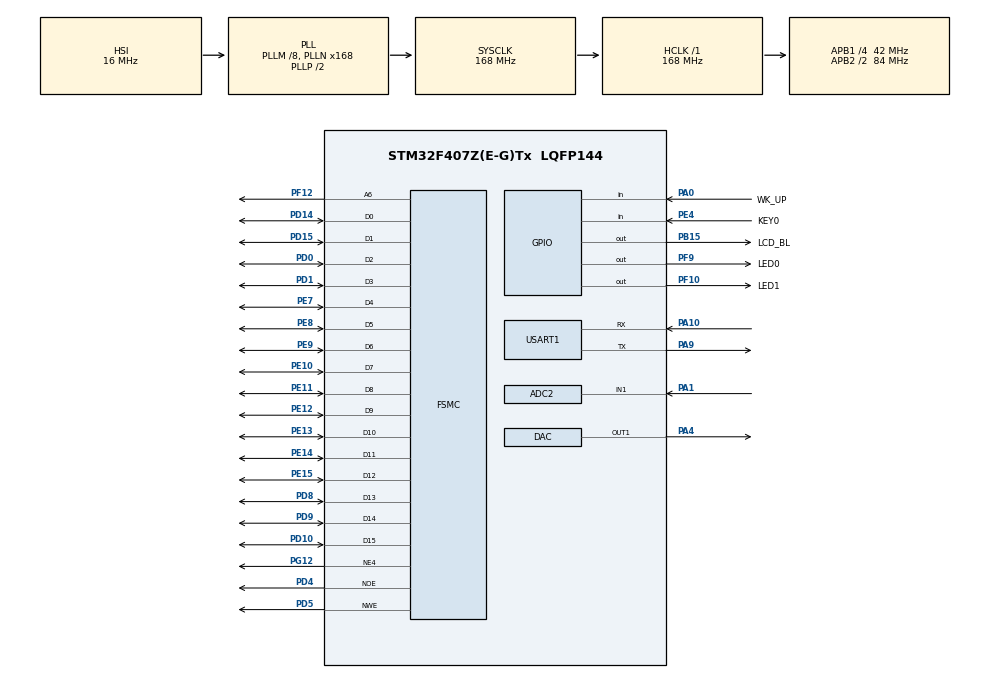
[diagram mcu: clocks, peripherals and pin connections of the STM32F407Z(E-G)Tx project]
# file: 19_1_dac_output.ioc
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ADC2.Channel-0\#ChannelRegularConversion=ADC_CHANNEL_1
ADC2.NbrOfConversionFlag=1
ADC2.Rank-0\#ChannelRegularConversion=1
ADC2.SamplingTime-0\#ChannelRegularConversion=ADC_SAMPLETIME_480CYCLES
DAC.DAC_OutputBuffer=DAC_OUTPUTBUFFER_DISABLE
FSMC.AddressSetupTime1=15
FSMC.BusTurnAroundDuration1=0
FSMC.DataSetupTime1=60
FSMC.ExtendedAddressSetupTime1=9
FSMC.ExtendedBusTurnAroundDuration1=0
FSMC.ExtendedDataSetupTime1=9
FSMC.ExtendedMode1=FSMC_EXTENDED_MODE_ENABLE
Mcu.Family=STM32F4
Mcu.Name=STM32F407Z(E-G)Tx
Mcu.Package=LQFP144
NVIC.PriorityGroup=NVIC_PRIORITYGROUP_2
NVIC.USART1_IRQn=true\:2\:2\:true\:false\:true\:true\:true\:true
PA0-WKUP.GPIO_Label=WK_UP
PA0-WKUP.GPIO_PuPd=GPIO_PULLDOWN
PA0-WKUP.Signal=GPIO_Input
PA1.Signal=ADCx_IN1
PA10.GPIO_PuPd=GPIO_PULLUP
PA10.Mode=Asynchronous
PA10.Signal=USART1_RX
PA13.Mode=Serial_Wire
PA13.Signal=SYS_JTMS-SWDIO
PA14.Mode=Serial_Wire
PA14.Signal=SYS_JTCK-SWCLK
PA4.Signal=COMP_DAC1_group
PA9.GPIO_PuPd=GPIO_PULLUP
PA9.Mode=Asynchronous
PA9.Signal=USART1_TX
PB15.GPIO_Label=LCD_BL
PB15.GPIO_PuPd=GPIO_PULLUP
PB15.GPIO_Speed=GPIO_SPEED_FREQ_VERY_HIGH
PB15.PinState=GPIO_PIN_SET
PB15.Signal=GPIO_Output
PC14-OSC32_IN.Mode=LSE-External-Oscillator
PC14-OSC32_IN.Signal=RCC_OSC32_IN
PC15-OSC32_OUT.Mode=LSE-External-Oscillator
PC15-OSC32_OUT.Signal=RCC_OSC32_OUT
PD0.Signal=FSMC_D2_DA2
PD1.Signal=FSMC_D3_DA3
PD10.Signal=FSMC_D15_DA15
PD14.Signal=FSMC_D0_DA0
PD15.Signal=FSMC_D1_DA1
PD4.Signal=FSMC_NOE
PD5.Signal=FSMC_NWE
PD8.Signal=FSMC_D13_DA13
PD9.Signal=FSMC_D14_DA14
PE10.Signal=FSMC_D7_DA7
PE11.Signal=FSMC_D8_DA8
PE12.Signal=FSMC_D9_DA9
PE13.Signal=FSMC_D10_DA10
PE14.Signal=FSMC_D11_DA11
PE15.Signal=FSMC_D12_DA12
PE4.GPIO_Label=KEY0
PE4.GPIO_PuPd=GPIO_PULLDOWN
PE4.Signal=GPIO_Input
PE7.Signal=FSMC_D4_DA4
PE8.Signal=FSMC_D5_DA5
PE9.Signal=FSMC_D6_DA6
PF10.GPIO_Label=LED1
PF10.GPIO_PuPd=GPIO_PULLDOWN
PF10.GPIO_Speed=GPIO_SPEED_FREQ_VERY_HIGH
PF10.PinState=GPIO_PIN_SET
PF10.Signal=GPIO_Output
PF12.Signal=FSMC_A6
PF9.GPIO_Label=LED0
PF9.GPIO_PuPd=GPIO_PULLDOWN
PF9.GPIO_Speed=GPIO_SPEED_FREQ_VERY_HIGH
PF9.PinState=GPIO_PIN_SET
PF9.Signal=GPIO_Output
PG12.Mode=NorPsramChipSelect4_1
PG12.Signal=FSMC_NE4
PH0-OSC_IN.Mode=HSE-External-Oscillator
PH0-OSC_IN.Signal=RCC_OSC_IN
PH1-OSC_OUT.Mode=HSE-External-Oscillator
PH1-OSC_OUT.Signal=RCC_OSC_OUT
ProjectManager.HeapSize=0x200
ProjectManager.StackSize=0x400
ProjectManager.TargetToolchain=STM32CubeIDE
RCC.48MHZClocksFreq_Value=84000000
RCC.AHBFreq_Value=168000000
RCC.APB1CLKDivider=RCC_HCLK_DIV4
RCC.APB1Freq_Value=42000000
RCC.APB1TimFreq_Value=84000000
RCC.APB2CLKDivider=RCC_HCLK_DIV2
RCC.APB2Freq_Value=84000000
RCC.APB2TimFreq_Value=168000000
RCC.CortexFreq_Value=168000000
RCC.HCLKFreq_Value=168000000
RCC.HSE_VALUE=25000000
RCC.HSI_VALUE=16000000
RCC.PLLM=8
RCC.PLLN=168
RCC.SYSCLKFreq_VALUE=168000000
RCC.SYSCLKSource=RCC_SYSCLKSOURCE_PLLCLK
RCC.VCOOutputFreq_Value=336000000
SH.ADCx_IN1.0=ADC2_IN1,IN1
SH.COMP_DAC1_group.0=DAC_OUT1,DAC_OUT1
SH.FSMC_A6.0=FSMC_A6,A6_1
SH.FSMC_D0_DA0.0=FSMC_D0,16b-d1
SH.FSMC_D10_DA10.0=FSMC_D10,16b-d1
SH.FSMC_D11_DA11.0=FSMC_D11,16b-d1
SH.FSMC_D12_DA12.0=FSMC_D12,16b-d1
SH.FSMC_D13_DA13.0=FSMC_D13,16b-d1
SH.FSMC_D14_DA14.0=FSMC_D14,16b-d1
SH.FSMC_D15_DA15.0=FSMC_D15,16b-d1
SH.FSMC_D1_DA1.0=FSMC_D1,16b-d1
SH.FSMC_D2_DA2.0=FSMC_D2,16b-d1
SH.FSMC_D3_DA3.0=FSMC_D3,16b-d1
SH.FSMC_D4_DA4.0=FSMC_D4,16b-d1
SH.FSMC_D5_DA5.0=FSMC_D5,16b-d1
SH.FSMC_D6_DA6.0=FSMC_D6,16b-d1
SH.FSMC_D7_DA7.0=FSMC_D7,16b-d1
SH.FSMC_D8_DA8.0=FSMC_D8,16b-d1
SH.FSMC_D9_DA9.0=FSMC_D9,16b-d1
SH.FSMC_NOE.0=FSMC_NOE,Lcd1
SH.FSMC_NWE.0=FSMC_NWE,Lcd1
USART1.VirtualMode=VM_ASYNC
board=custom

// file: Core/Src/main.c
/* USER CODE BEGIN Header */
/**
 ****************************************************************************************************
 * @file        main.c
 * @author      ALIENTEK
 * @brief       dac output code
 * @license     Copyright (C) 2020-2032, ALIENTEK
 ****************************************************************************************************
 * @attention
 *
 * platform     : ALIENTEK M144-STM32F407 board
 * website      : https://www.alientek.com
 * forum        : http://www.openedv.com/forum.php
 *
 * change logs  :
 * version    data    notes
 * V1.0     20240410  the first version
 *
 ****************************************************************************************************
 */
/* USER CODE END Header */
#include "main.h"
#include "adc.h"
#include "dac.h"
#include "usart.h"
#include "gpio.h"
#include "fsmc.h"

/* USER CODE BEGIN Includes */
#include "../../BSP/LED/led.h"
#include "../../BSP/KEY/key.h"
#include "../../BSP/LCD/lcd.h"
#include "../../SYSTEM/delay/delay.h"
/* USER CODE END Includes */

void SystemClock_Config(void);

int main(void)
{
  /* USER CODE BEGIN 1 */
    uint8_t t = 0;
    uint8_t key;
    uint16_t dac_value;
    uint16_t dac_voltage = 100;
    uint16_t adc_value;
    uint16_t adc_voltage;
  /* USER CODE END 1 */

  /* MCU Configuration--------------------------------------------------------*/

  /* Reset of all peripherals, Initializes the Flash interface and the Systick. */
  HAL_Init();

  /* Configure the system clock */
  SystemClock_Config();

  /* USER CODE BEGIN SysInit */
  delay_init(168);
  /* USER CODE END SysInit */

  /* Initialize all configured peripherals */
  MX_GPIO_Init();
  MX_USART1_UART_Init();
  MX_FSMC_Init();
  MX_ADC2_Init();
  MX_DAC_Init();
  /* USER CODE BEGIN 2 */

  lcd_init();

  lcd_show_string(30, 50, 200, 16, 16, "STM32", RED);
  lcd_show_string(30, 70, 200, 16, 16, "DAC TEST", RED);
  lcd_show_string(30, 90, 200, 16, 16, "ATOM@ALIENTEK", RED);

  lcd_show_string(30, 110, 200, 16, 16, "WK_UP:+ KEY0:-", RED);

  lcd_show_string(30, 130, 200, 16, 16, "DAC_CH1 VAL:", BLUE);
  lcd_show_string(30, 150, 200, 16, 16, "DAC_CH1_VOL:0.000V", BLUE);
  lcd_show_string(30, 170, 200, 16, 16, "ADC2_CH1_VOL:0.000V", BLUE);

  dac_set_voltage(dac_voltage);       /* Output increased by 100 */

  /* USER CODE END 2 */

  /* Infinite loop */
  while (1)
  {

      key = key_scan(0);
      if (key == WKUP_PRES)
      {
          if (dac_voltage < 3300)
          {
              dac_voltage += 100;
              dac_set_voltage(dac_voltage);
          }
      }
      else if (key == KEY0_PRES)
      {
          if (dac_voltage > 100)
          {
              dac_voltage -= 100;
              dac_set_voltage(dac_voltage);
          }
      }

      if (++t == 20)
      {
          t = 0;

          /* Display the DAC output in digital quantity. */
          dac_value = HAL_DAC_GetValue(&hdac, DAC_CHANNEL_1);
          lcd_show_xnum(126, 130, dac_value, 4, 16, 0, BLUE);

          /* Display the DAC output in analog quantity. */
          lcd_show_xnum(126, 150, dac_voltage / 1000, 1, 16, 0, BLUE);
          lcd_show_xnum(142, 150, dac_voltage % 1000, 3, 16, 0x80, BLUE);

          /* Display the analog quantity acquired by the ADC. */
          adc_value = adc_get_result_average(ADC_CHANNEL_1, 10);
          adc_voltage = (adc_value * 3300) / 4095;
          lcd_show_xnum(134, 170, adc_voltage / 1000, 1, 16, 0, BLUE);
          lcd_show_xnum(150, 170, adc_voltage % 1000, 3, 16, 0x80, BLUE);

          LED0_TOGGLE();
      }

      HAL_Delay(10);

  }
}

void SystemClock_Config(void)
{
  RCC_OscInitTypeDef RCC_OscInitStruct = {0};
  RCC_ClkInitTypeDef RCC_ClkInitStruct = {0};

  /** Configure the main internal regulator output voltage
  */
  __HAL_RCC_PWR_CLK_ENABLE();
  __HAL_PWR_VOLTAGESCALING_CONFIG(PWR_REGULATOR_VOLTAGE_SCALE1);

  /** Initializes the RCC Oscillators according to the specified parameters
  * in the RCC_OscInitTypeDef structure.
  */
  RCC_OscInitStruct.OscillatorType = RCC_OSCILLATORTYPE_HSI;
  RCC_OscInitStruct.HSIState = RCC_HSI_ON;
  RCC_OscInitStruct.HSICalibrationValue = RCC_HSICALIBRATION_DEFAULT;
  RCC_OscInitStruct.PLL.PLLState = RCC_PLL_ON;
  RCC_OscInitStruct.PLL.PLLSource = RCC_PLLSOURCE_HSI;
  RCC_OscInitStruct.PLL.PLLM = 8;
  RCC_OscInitStruct.PLL.PLLN = 168;
  RCC_OscInitStruct.PLL.PLLP = RCC_PLLP_DIV2;
  RCC_OscInitStruct.PLL.PLLQ = 4;
  if (HAL_RCC_OscConfig(&RCC_OscInitStruct) != HAL_OK)
  {
    Error_Handler();
  }

  /** Initializes the CPU, AHB and APB buses clocks
  */
  RCC_ClkInitStruct.ClockType = RCC_CLOCKTYPE_HCLK|RCC_CLOCKTYPE_SYSCLK
                              |RCC_CLOCKTYPE_PCLK1|RCC_CLOCKTYPE_PCLK2;
  RCC_ClkInitStruct.SYSCLKSource = RCC_SYSCLKSOURCE_PLLCLK;
  RCC_ClkInitStruct.AHBCLKDivider = RCC_SYSCLK_DIV1;
  RCC_ClkInitStruct.APB1CLKDivider = RCC_HCLK_DIV4;
  RCC_ClkInitStruct.APB2CLKDivider = RCC_HCLK_DIV2;

  if (HAL_RCC_ClockConfig(&RCC_ClkInitStruct, FLASH_LATENCY_5) != HAL_OK)
  {
    Error_Handler();
  }
}

void Error_Handler(void)
{
  __disable_irq();
  while (1)
  {
  }
}
